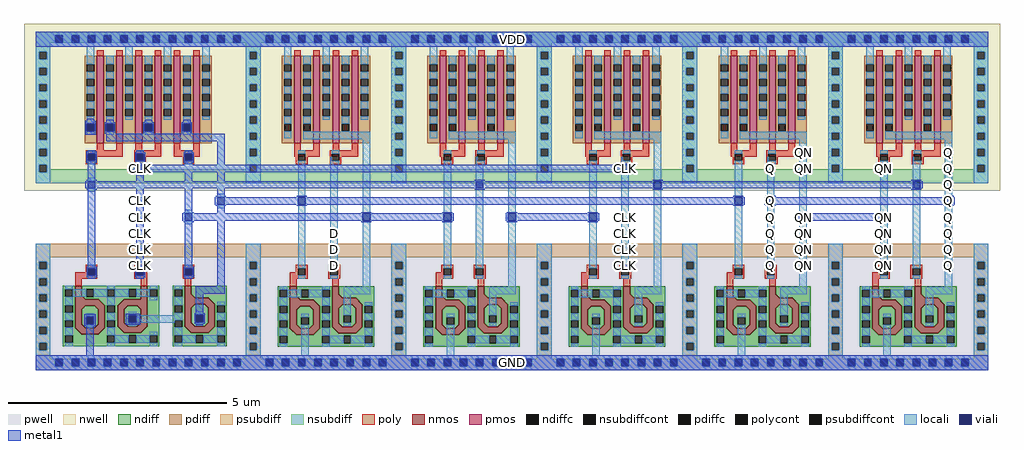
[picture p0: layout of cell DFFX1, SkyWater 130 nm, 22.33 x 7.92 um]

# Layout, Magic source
magic
tech sky130A
magscale 1 2
<< nwell >>
rect 57 1463 91 1497
<< pwell >>
rect 57 -17 91 17
<< locali >>
rect 3461 945 3495 979
rect 4127 945 4161 979
rect 427 871 461 905
rect 2647 871 2681 905
rect 3313 871 3347 905
rect 3461 871 3495 905
rect 3831 871 3865 905
rect 4127 871 4161 905
rect 4127 797 4161 831
rect 427 723 461 757
rect 3313 723 3347 757
rect 4127 723 4161 757
rect 427 649 461 683
rect 2647 649 2681 683
rect 3313 649 3347 683
rect 3461 649 3495 683
rect 3831 649 3865 683
rect 4127 649 4161 683
rect 427 575 461 609
rect 1315 575 1349 609
rect 2647 575 2681 609
rect 3313 575 3347 609
rect 3461 575 3495 609
rect 3831 575 3865 609
rect 4127 575 4161 609
rect 427 501 461 535
rect 1315 501 1349 535
rect 2647 501 2681 535
rect 3313 501 3347 535
rect 3461 501 3495 535
rect 3831 501 3865 535
rect 4127 501 4161 535
rect 427 427 461 461
rect 1315 427 1349 461
rect 2647 427 2681 461
rect 3313 427 3347 461
rect 3461 427 3495 461
rect 3831 427 3865 461
rect 4127 427 4161 461
<< metal1 >>
rect -34 1445 4326 1514
rect 3349 723 4115 757
rect 3497 649 3807 683
rect -34 -34 4326 34
use dffx1_pcell  dffx1_pcell_0 pcells
transform 1 0 0 0 1 0
box -87 -34 4379 1550
use li1_M1_contact  li1_M1_contact_15 pcells
transform 1 0 4144 0 1 740
box -53 -33 29 33
use li1_M1_contact  li1_M1_contact_8
transform -1 0 3330 0 -1 740
box -53 -33 29 33
use li1_M1_contact  li1_M1_contact_0
transform -1 0 3478 0 -1 666
box -53 -33 29 33
use li1_M1_contact  li1_M1_contact_1
transform 1 0 3848 0 1 666
box -53 -33 29 33
<< labels >>
rlabel locali 4127 723 4161 757 1 Q
port 1 nsew signal output
rlabel locali 4127 797 4161 831 1 Q
port 1 nsew signal output
rlabel locali 4127 871 4161 905 1 Q
port 1 nsew signal output
rlabel locali 4127 945 4161 979 1 Q
port 1 nsew signal output
rlabel locali 4127 649 4161 683 1 Q
port 1 nsew signal output
rlabel locali 4127 575 4161 609 1 Q
port 1 nsew signal output
rlabel locali 4127 501 4161 535 1 Q
port 1 nsew signal output
rlabel locali 4127 427 4161 461 1 Q
port 1 nsew signal output
rlabel locali 3313 871 3347 905 1 Q
port 1 nsew signal output
rlabel locali 3313 723 3347 757 1 Q
port 1 nsew signal output
rlabel locali 3313 649 3347 683 1 Q
port 1 nsew signal output
rlabel locali 3313 575 3347 609 1 Q
port 1 nsew signal output
rlabel locali 3313 501 3347 535 1 Q
port 1 nsew signal output
rlabel locali 3313 427 3347 461 1 Q
port 1 nsew signal output
rlabel locali 3831 649 3865 683 1 QN
port 2 nsew signal output
rlabel locali 3831 871 3865 905 1 QN
port 2 nsew signal output
rlabel locali 3831 575 3865 609 1 QN
port 2 nsew signal output
rlabel locali 3831 501 3865 535 1 QN
port 2 nsew signal output
rlabel locali 3831 427 3865 461 1 QN
port 2 nsew signal output
rlabel locali 3461 427 3495 461 1 QN
port 2 nsew signal output
rlabel locali 3461 501 3495 535 1 QN
port 2 nsew signal output
rlabel locali 3461 575 3495 609 1 QN
port 2 nsew signal output
rlabel locali 3461 649 3495 683 1 QN
port 2 nsew signal output
rlabel locali 3461 871 3495 905 1 QN
port 2 nsew signal output
rlabel locali 3461 945 3495 979 1 QN
port 2 nsew signal output
rlabel locali 1315 575 1349 609 1 D
port 3 nsew signal input
rlabel locali 1315 501 1349 535 1 D
port 3 nsew signal input
rlabel locali 1315 427 1349 461 1 D
port 3 nsew signal input
rlabel locali 427 871 461 905 1 CLK
port 4 nsew signal input
rlabel locali 427 723 461 757 1 CLK
port 4 nsew signal input
rlabel locali 427 649 461 683 1 CLK
port 4 nsew signal input
rlabel locali 427 575 461 609 1 CLK
port 4 nsew signal input
rlabel locali 427 501 461 535 1 CLK
port 4 nsew signal input
rlabel locali 427 427 461 461 1 CLK
port 4 nsew signal input
rlabel locali 2647 427 2681 461 1 CLK
port 4 nsew signal input
rlabel locali 2647 501 2681 535 1 CLK
port 4 nsew signal input
rlabel locali 2647 575 2681 609 1 CLK
port 4 nsew signal input
rlabel locali 2647 649 2681 683 1 CLK
port 4 nsew signal input
rlabel locali 2647 871 2681 905 1 CLK
port 4 nsew signal input
rlabel metal1 -34 1445 4326 1514 1 VDD
port 5 nsew power bidirectional abutment
rlabel metal1 -34 -34 4326 34 1 GND
port 6 nsew ground bidirectional abutment


<< properties >>
string LEFclass CORE
string LEFsite unitrh
string FIXED_BBOX 0 0 4292 1480
string LEFsymmetry X Y R90
<< end >>

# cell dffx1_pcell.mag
magic
tech sky130A
magscale 1 2
<< metal1 >>
rect 427 871 2651 905
rect 258 797 2793 831
rect 2841 797 3990 831
rect 833 723 1132 757
rect 1213 723 3163 757
rect 685 649 1427 683
rect 1509 649 1797 683
rect 2165 649 2478 683
use li1_M1_contact  li1_M1_contact_5
transform -1 0 814 0 -1 740
box -53 -33 29 33
use li1_M1_contact  li1_M1_contact_3
transform -1 0 666 0 -1 666
box -53 -33 29 33
use li1_M1_contact  li1_M1_contact_16
transform -1 0 444 0 -1 888
box -53 -33 29 33
use li1_M1_contact  li1_M1_contact_1
transform -1 0 222 0 -1 814
box -53 -33 29 33
use nand3x1_pcell  nand3x1_pcell_0
transform 1 0 0 0 1 0
box -87 -34 1049 1550
use nand2x1_pcell  nand2x1_pcell_0
transform 1 0 962 0 1 0
box -87 -34 753 1550
use li1_M1_contact  li1_M1_contact_10
transform -1 0 2146 0 -1 666
box -53 -33 29 33
use li1_M1_contact  li1_M1_contact_2
transform 1 0 1998 0 1 814
box -53 -33 29 33
use li1_M1_contact  li1_M1_contact_7
transform 1 0 1850 0 1 666
box -53 -33 29 33
use li1_M1_contact  li1_M1_contact_4
transform 1 0 1480 0 1 666
box -53 -33 29 33
use li1_M1_contact  li1_M1_contact_6
transform 1 0 1184 0 1 740
box -53 -33 29 33
use nand2x1_pcell  nand2x1_pcell_1
transform 1 0 1628 0 1 0
box -87 -34 753 1550
use li1_M1_contact  li1_M1_contact_8
transform 1 0 3182 0 1 740
box -53 -33 29 33
use li1_M1_contact  li1_M1_contact_0
transform 1 0 2812 0 1 814
box -53 -33 29 33
use li1_M1_contact  li1_M1_contact_18
transform 1 0 2664 0 1 888
box -53 -33 29 33
use li1_M1_contact  li1_M1_contact_9
transform 1 0 2516 0 1 666
box -53 -33 29 33
use nand2x1_pcell  nand2x1_pcell_2
transform 1 0 2294 0 1 0
box -87 -34 753 1550
use nand2x1_pcell  nand2x1_pcell_3
transform 1 0 2960 0 1 0
box -87 -34 753 1550
use li1_M1_contact  li1_M1_contact_15
transform 1 0 3996 0 1 814
box -53 -33 29 33
use nand2x1_pcell  nand2x1_pcell_4
transform 1 0 3626 0 1 0
box -87 -34 753 1550
<< end >>

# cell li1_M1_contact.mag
magic
tech sky130A
magscale 1 2
<< locali >>
rect -17 17 17 33
rect -17 -33 17 -17
<< viali >>
rect -17 -17 17 17
<< metal1 >>
rect -23 17 23 23
rect -53 -17 -17 17
rect 17 -17 29 17
rect -23 -23 23 -17
<< end >>

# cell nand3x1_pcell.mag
magic
tech sky130A
magscale 1 2
<< nwell >>
rect 87 1099 875 1550
rect 87 1093 220 1099
rect 87 1059 205 1093
rect 229 1059 263 1093
rect 87 1056 220 1059
rect 279 1056 875 1099
rect 87 786 875 1056
<< pwell >>
rect 34 -34 928 544
<< pdiffc >>
rect 201 1059 235 1093
rect 289 1059 323 1093
rect 465 1059 499 1093
rect 641 1059 675 1093
<< psubdiff >>
rect 34 482 928 544
rect 34 -17 57 17
rect 91 -17 131 17
rect 165 -17 205 17
rect 239 -17 279 17
rect 313 -17 353 17
rect 387 -17 427 17
rect 461 -17 501 17
rect 535 -17 575 17
rect 609 -17 649 17
rect 683 -17 723 17
rect 757 -17 797 17
rect 831 -17 871 17
rect 905 -17 928 17
rect 34 -34 928 -17
<< nsubdiff >>
rect 34 1497 928 1514
rect 34 1463 57 1497
rect 91 1463 131 1497
rect 165 1463 205 1497
rect 239 1463 279 1497
rect 313 1463 353 1497
rect 387 1463 427 1497
rect 461 1463 501 1497
rect 535 1463 575 1497
rect 609 1463 649 1497
rect 683 1463 723 1497
rect 757 1463 797 1497
rect 831 1463 871 1497
rect 905 1463 928 1497
rect 34 822 928 884
<< psubdiffcont >>
rect 57 -17 91 17
rect 131 -17 165 17
rect 205 -17 239 17
rect 279 -17 313 17
rect 353 -17 387 17
rect 427 -17 461 17
rect 501 -17 535 17
rect 575 -17 609 17
rect 649 -17 683 17
rect 723 -17 757 17
rect 797 -17 831 17
rect 871 -17 905 17
<< nsubdiffcont >>
rect 57 1463 91 1497
rect 131 1463 165 1497
rect 205 1463 239 1497
rect 279 1463 313 1497
rect 353 1463 387 1497
rect 427 1463 461 1497
rect 501 1463 535 1497
rect 575 1463 609 1497
rect 649 1463 683 1497
rect 723 1463 757 1497
rect 797 1463 831 1497
rect 871 1463 905 1497
<< poly >>
rect 147 383 195 413
rect 471 383 477 413
rect 147 377 177 383
rect 447 377 477 383
<< locali >>
rect 14 1497 943 1514
rect 14 1463 57 1497
rect 91 1463 131 1497
rect 165 1463 205 1497
rect 239 1463 279 1497
rect 313 1463 353 1497
rect 387 1463 427 1497
rect 461 1463 501 1497
rect 535 1463 575 1497
rect 609 1463 649 1497
rect 683 1463 723 1497
rect 757 1463 797 1497
rect 831 1463 871 1497
rect 905 1463 943 1497
rect 14 1446 943 1463
rect 201 1093 235 1120
rect 201 1043 235 1059
rect 289 1093 323 1112
rect 289 1043 323 1059
rect 465 1093 499 1117
rect 465 1043 499 1059
rect 641 1093 675 1112
rect 641 1043 675 1059
rect 427 182 603 216
rect 34 17 930 34
rect 34 -17 57 17
rect 91 -17 131 17
rect 165 -17 205 17
rect 239 -17 279 17
rect 313 -17 353 17
rect 387 -17 427 17
rect 461 -17 501 17
rect 535 -17 575 17
rect 609 -17 649 17
rect 683 -17 723 17
rect 757 -17 797 17
rect 831 -17 871 17
rect 905 -17 930 17
rect 34 -34 930 -17
<< viali >>
rect 57 1463 91 1497
rect 131 1463 165 1497
rect 205 1463 239 1497
rect 279 1463 313 1497
rect 353 1463 387 1497
rect 427 1463 461 1497
rect 501 1463 535 1497
rect 575 1463 609 1497
rect 649 1463 683 1497
rect 723 1463 757 1497
rect 797 1463 831 1497
rect 871 1463 905 1497
rect 201 1059 235 1093
rect 289 1059 323 1093
rect 465 1059 499 1093
rect 641 1059 675 1093
rect 205 923 239 957
rect 427 923 461 957
rect 649 923 683 957
rect 205 399 239 433
rect 427 399 461 433
rect 649 399 683 433
rect 198 176 232 210
rect 393 182 427 216
rect 700 185 734 219
rect 57 -17 91 17
rect 131 -17 165 17
rect 205 -17 239 17
rect 279 -17 313 17
rect 353 -17 387 17
rect 427 -17 461 17
rect 501 -17 535 17
rect 575 -17 609 17
rect 649 -17 683 17
rect 723 -17 757 17
rect 797 -17 831 17
rect 871 -17 905 17
<< metal1 >>
rect 34 1497 928 1514
rect 34 1463 57 1497
rect 91 1463 131 1497
rect 165 1463 205 1497
rect 239 1463 279 1497
rect 313 1463 353 1497
rect 387 1463 427 1497
rect 461 1463 501 1497
rect 535 1463 575 1497
rect 609 1463 649 1497
rect 683 1463 723 1497
rect 757 1463 797 1497
rect 831 1463 871 1497
rect 905 1463 928 1497
rect 34 1446 928 1463
rect 201 1107 235 1116
rect 193 1093 241 1107
rect 289 1099 323 1111
rect 465 1099 499 1111
rect 641 1099 675 1111
rect 193 1059 201 1093
rect 235 1059 241 1093
rect 193 1043 241 1059
rect 283 1093 330 1099
rect 283 1059 289 1093
rect 323 1059 330 1093
rect 283 1048 330 1059
rect 458 1093 506 1099
rect 458 1059 465 1093
rect 499 1059 506 1093
rect 458 1048 506 1059
rect 635 1093 681 1099
rect 635 1059 641 1093
rect 675 1059 681 1093
rect 635 1048 681 1059
rect 289 1014 831 1048
rect 205 967 239 969
rect 198 957 246 967
rect 427 963 461 969
rect 649 963 683 969
rect 198 923 205 957
rect 239 923 246 957
rect 198 915 246 923
rect 421 957 467 963
rect 421 923 427 957
rect 461 923 467 957
rect 421 917 467 923
rect 643 957 689 963
rect 643 923 649 957
rect 683 923 689 957
rect 205 439 239 915
rect 427 439 461 917
rect 643 914 689 923
rect 649 439 683 914
rect 199 433 245 439
rect 199 399 205 433
rect 239 399 245 433
rect 199 391 245 399
rect 421 433 468 439
rect 421 399 427 433
rect 461 399 468 433
rect 421 391 468 399
rect 643 433 689 439
rect 643 399 649 433
rect 683 399 689 433
rect 643 391 689 399
rect 205 383 239 391
rect 427 383 461 391
rect 649 383 683 391
rect 797 350 831 1014
rect 700 316 831 350
rect 700 225 734 316
rect 189 210 241 222
rect 189 176 198 210
rect 232 176 241 210
rect 189 167 241 176
rect 378 216 445 223
rect 378 182 393 216
rect 427 182 445 216
rect 378 173 445 182
rect 694 219 740 225
rect 694 185 700 219
rect 734 185 740 219
rect 694 179 740 185
rect 700 173 734 179
rect 198 34 232 167
rect 34 17 928 34
rect 34 -17 57 17
rect 91 -17 131 17
rect 165 -17 205 17
rect 239 -17 279 17
rect 313 -17 353 17
rect 387 -17 427 17
rect 461 -17 501 17
rect 535 -17 575 17
rect 609 -17 649 17
rect 683 -17 723 17
rect 757 -17 797 17
rect 831 -17 871 17
rect 905 -17 928 17
rect 34 -34 928 -17
use diff_ring_side  diff_ring_side_0
transform 1 0 962 0 1 0
box -87 -34 87 1550
use diff_ring_side  diff_ring_side_1
transform 1 0 0 0 1 0
box -87 -34 87 1550
use nmos_bottom  nmos_bottom_0
transform -1 0 339 0 1 75
box 0 0 248 302
use nmos_side_left  nmos_side_left_0
transform 1 0 285 0 1 75
box 0 0 248 302
use nmos_top_trim1  nmos_top_trim1_0
transform -1 0 841 0 1 75
box 0 0 248 309
use pmos2  pmos2_0
transform 1 0 103 0 1 1404
box 52 -461 352 42
use pmos2  pmos2_1
transform 1 0 279 0 1 1404
box 52 -461 352 42
use pmos2  pmos2_2
transform 1 0 455 0 1 1404
box 52 -461 352 42
use poly_li1_contact  poly_li1_contact_0
transform 0 1 223 -1 0 941
box -32 -28 34 26
use poly_li1_contact  poly_li1_contact_1
transform 0 -1 221 1 0 415
box -32 -28 34 26
use poly_li1_contact  poly_li1_contact_2
transform 0 -1 443 1 0 415
box -32 -28 34 26
use poly_li1_contact  poly_li1_contact_3
transform 0 -1 443 1 0 939
box -32 -28 34 26
use poly_li1_contact  poly_li1_contact_4
transform 0 -1 665 1 0 415
box -32 -28 34 26
use poly_li1_contact  poly_li1_contact_5
transform 0 1 667 -1 0 941
box -32 -28 34 26
<< end >>

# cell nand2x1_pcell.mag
magic
tech sky130A
magscale 1 2
<< nwell >>
rect 87 786 579 1550
<< pwell >>
rect 34 542 632 544
rect -31 -30 697 542
rect 34 -34 632 -30
<< pdiffc >>
rect 141 1059 175 1093
rect 229 1059 263 1093
rect 405 1059 439 1093
<< psubdiff >>
rect 34 542 632 544
rect 31 482 635 542
rect 31 480 34 482
rect 632 480 635 482
rect 31 -17 57 17
rect 91 -17 131 17
rect 165 -17 205 17
rect 239 -17 279 17
rect 313 -17 353 17
rect 387 -17 427 17
rect 461 -17 501 17
rect 535 -17 575 17
rect 609 -17 635 17
rect 31 -30 635 -17
rect 34 -34 632 -30
<< nsubdiff >>
rect 34 1497 632 1514
rect 34 1463 57 1497
rect 91 1463 131 1497
rect 165 1463 205 1497
rect 239 1463 279 1497
rect 313 1463 353 1497
rect 387 1463 427 1497
rect 461 1463 501 1497
rect 535 1463 575 1497
rect 609 1463 632 1497
rect 34 822 632 884
<< psubdiffcont >>
rect 57 -17 91 17
rect 131 -17 165 17
rect 205 -17 239 17
rect 279 -17 313 17
rect 353 -17 387 17
rect 427 -17 461 17
rect 501 -17 535 17
rect 575 -17 609 17
<< nsubdiffcont >>
rect 57 1463 91 1497
rect 131 1463 165 1497
rect 205 1463 239 1497
rect 279 1463 313 1497
rect 353 1463 387 1497
rect 427 1463 461 1497
rect 501 1463 535 1497
rect 575 1463 609 1497
<< poly >>
rect 168 375 198 413
rect 362 382 392 383
<< locali >>
rect 34 1497 632 1514
rect 34 1463 57 1497
rect 91 1463 131 1497
rect 165 1463 205 1497
rect 239 1463 279 1497
rect 313 1463 353 1497
rect 387 1463 427 1497
rect 461 1463 501 1497
rect 535 1463 575 1497
rect 609 1463 632 1497
rect 34 1446 632 1463
rect 141 1093 175 1111
rect 141 1027 175 1059
rect 229 1093 263 1111
rect 229 1057 263 1059
rect 405 1093 439 1111
rect 405 1057 439 1059
rect 229 1023 535 1057
rect 353 908 361 942
rect 205 433 239 908
rect 353 441 387 908
rect 353 433 357 441
rect 501 348 535 1023
rect 413 314 535 348
rect 413 233 447 314
rect 219 34 253 167
rect 34 32 632 34
rect 31 17 635 32
rect 31 -17 57 17
rect 91 -17 131 17
rect 165 -17 205 17
rect 239 -17 279 17
rect 313 -17 353 17
rect 387 -17 427 17
rect 461 -17 501 17
rect 535 -17 575 17
rect 609 -17 635 17
rect 31 -30 635 -17
rect 34 -34 632 -30
<< viali >>
rect 57 1463 91 1497
rect 131 1463 165 1497
rect 205 1463 239 1497
rect 279 1463 313 1497
rect 353 1463 387 1497
rect 427 1463 461 1497
rect 501 1463 535 1497
rect 575 1463 609 1497
rect 57 -17 91 17
rect 131 -17 165 17
rect 205 -17 239 17
rect 279 -17 313 17
rect 353 -17 387 17
rect 427 -17 461 17
rect 501 -17 535 17
rect 575 -17 609 17
<< metal1 >>
rect 34 1497 632 1514
rect 34 1463 57 1497
rect 91 1463 131 1497
rect 165 1463 205 1497
rect 239 1463 279 1497
rect 313 1463 353 1497
rect 387 1463 427 1497
rect 461 1463 501 1497
rect 535 1463 575 1497
rect 609 1463 632 1497
rect 34 1446 632 1463
rect 34 32 632 34
rect 31 17 635 32
rect 31 -17 57 17
rect 91 -17 131 17
rect 165 -17 205 17
rect 239 -17 279 17
rect 313 -17 353 17
rect 387 -17 427 17
rect 461 -17 501 17
rect 535 -17 575 17
rect 609 -17 635 17
rect 31 -30 635 -17
rect 34 -34 632 -30
use poly_li1_contact  poly_li1_contact_1
transform 0 1 223 -1 0 417
box -32 -28 34 26
use nmos_bottom  nmos_bottom_0
transform -1 0 360 0 1 73
box 0 0 248 302
use poly_li1_contact  poly_li1_contact_0
transform 0 1 223 -1 0 941
box -32 -28 34 26
use pmos2  pmos2_0
transform 1 0 43 0 1 1404
box 52 -461 352 42
use poly_li1_contact  poly_li1_contact_2
transform 0 -1 369 1 0 415
box -32 -28 34 26
use nmos_top_trim1  nmos_top_trim1_0
transform -1 0 554 0 1 73
box 0 0 248 309
use poly_li1_contact  poly_li1_contact_3
transform 0 1 377 -1 0 941
box -32 -28 34 26
use pmos2  pmos2_1
transform 1 0 219 0 1 1404
box 52 -461 352 42
use diff_ring_side  diff_ring_side_0
transform 1 0 666 0 1 0
box -87 -34 87 1550
use diff_ring_side  diff_ring_side_1
transform 1 0 0 0 1 0
box -87 -34 87 1550
<< end >>

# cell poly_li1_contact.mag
magic
tech sky130
<< poly >>
rect -16 8 17 13
rect -16 -9 -8 8
rect 9 -9 17 8
rect -16 -14 17 -9
<< polycont >>
rect -8 -9 9 8
<< locali >>
rect -16 -9 -8 8
rect 9 -9 17 8
<< end >>

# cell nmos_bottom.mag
magic
tech sky130A
magscale 1 2
<< nmos >>
tri 146 215 162 231 se
rect 162 215 192 276
tri 56 185 86 215 se
rect 86 185 192 215
rect 56 84 86 185
tri 86 169 102 185 nw
tri 146 169 162 185 ne
tri 86 84 102 100 sw
tri 146 84 162 100 se
rect 162 84 192 185
tri 56 54 86 84 ne
rect 86 54 162 84
tri 162 54 192 84 nw
<< ndiff >>
rect 0 260 162 276
rect 0 226 10 260
rect 44 226 107 260
rect 141 231 162 260
rect 141 226 146 231
rect 0 215 146 226
tri 146 215 162 231 nw
rect 192 260 248 276
rect 192 226 204 260
rect 238 226 248 260
rect 0 188 56 215
rect 0 154 10 188
rect 44 154 56 188
tri 56 185 86 215 nw
rect 192 188 248 226
rect 0 120 56 154
rect 0 86 10 120
rect 44 86 56 120
rect 0 54 56 86
tri 86 169 102 185 se
rect 102 169 146 185
tri 146 169 162 185 sw
rect 86 135 162 169
rect 86 101 107 135
rect 141 101 162 135
rect 86 100 162 101
tri 86 84 102 100 ne
rect 102 84 146 100
tri 146 84 162 100 nw
rect 192 154 204 188
rect 238 154 248 188
rect 192 120 248 154
rect 192 86 204 120
rect 238 86 248 120
tri 56 54 86 84 sw
tri 162 54 192 84 se
rect 192 54 248 86
rect 0 50 248 54
rect 0 16 10 50
rect 44 16 204 50
rect 238 16 248 50
rect 0 0 248 16
<< ndiffc >>
rect 10 226 44 260
rect 107 226 141 260
rect 204 226 238 260
rect 10 154 44 188
rect 10 86 44 120
rect 107 101 141 135
rect 204 154 238 188
rect 204 86 238 120
rect 10 16 44 50
rect 204 16 238 50
<< poly >>
rect 162 276 192 302
<< locali >>
rect 10 260 44 276
rect 204 260 238 276
rect 44 226 107 260
rect 141 226 204 260
rect 10 188 44 226
rect 10 120 44 154
rect 204 188 238 226
rect 10 50 44 86
rect 107 135 141 151
rect 107 85 141 101
rect 204 120 238 154
rect 10 0 44 16
rect 204 50 238 86
rect 204 0 238 16
<< end >>

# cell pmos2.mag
magic
tech sky130A
magscale 1 2
<< nwell >>
rect 52 -436 352 36
<< pmos >>
rect 144 -400 174 0
rect 232 -400 262 0
<< pdiff >>
rect 88 -38 144 0
rect 88 -72 98 -38
rect 132 -72 144 -38
rect 88 -106 144 -72
rect 88 -140 98 -106
rect 132 -140 144 -106
rect 88 -174 144 -140
rect 88 -208 98 -174
rect 132 -208 144 -174
rect 88 -242 144 -208
rect 88 -276 98 -242
rect 132 -276 144 -242
rect 88 -400 144 -276
rect 174 -38 232 0
rect 174 -72 186 -38
rect 220 -72 232 -38
rect 174 -106 232 -72
rect 174 -140 186 -106
rect 220 -140 232 -106
rect 174 -174 232 -140
rect 174 -208 186 -174
rect 220 -208 232 -174
rect 174 -242 232 -208
rect 174 -276 186 -242
rect 220 -276 232 -242
rect 174 -400 232 -276
rect 262 -38 316 0
rect 262 -72 274 -38
rect 308 -72 316 -38
rect 262 -106 316 -72
rect 262 -140 274 -106
rect 308 -140 316 -106
rect 262 -174 316 -140
rect 262 -208 274 -174
rect 308 -208 316 -174
rect 262 -242 316 -208
rect 262 -276 274 -242
rect 308 -276 316 -242
rect 262 -400 316 -276
<< pdiffc >>
rect 98 -72 132 -38
rect 98 -140 132 -106
rect 98 -208 132 -174
rect 98 -276 132 -242
rect 186 -72 220 -38
rect 186 -140 220 -106
rect 186 -208 220 -174
rect 186 -276 220 -242
rect 274 -72 308 -38
rect 274 -140 308 -106
rect 274 -208 308 -174
rect 274 -276 308 -242
<< poly >>
rect 144 0 174 26
rect 232 0 262 26
rect 144 -431 174 -400
rect 232 -431 262 -400
rect 144 -461 262 -431
<< locali >>
rect 98 -38 132 42
rect 98 -106 132 -72
rect 98 -174 132 -140
rect 98 -242 132 -208
rect 98 -293 132 -276
rect 186 -38 220 0
rect 186 -106 220 -72
rect 186 -174 220 -140
rect 186 -242 220 -208
rect 186 -293 220 -276
rect 274 -38 308 42
rect 274 -106 308 -72
rect 274 -174 308 -140
rect 274 -242 308 -208
rect 274 -293 308 -276
<< end >>

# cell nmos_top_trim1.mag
magic
tech sky130
magscale 1 2
<< nmos >>
tri 146 223 162 239 se
rect 162 223 192 276
tri 56 193 86 223 se
rect 86 193 192 223
rect 56 92 86 193
tri 86 177 102 193 nw
tri 146 177 162 193 ne
tri 86 92 102 108 sw
tri 146 92 162 108 se
rect 162 92 192 193
tri 56 62 86 92 ne
rect 86 62 162 92
tri 162 62 192 92 nw
<< ndiff >>
rect 0 239 162 276
rect 0 223 146 239
tri 146 223 162 239 nw
rect 192 260 248 276
rect 192 226 204 260
rect 238 226 248 260
rect 0 188 56 223
tri 56 193 86 223 nw
rect 0 154 10 188
rect 44 154 56 188
rect 0 120 56 154
rect 0 86 10 120
rect 44 86 56 120
tri 86 177 102 193 se
rect 102 177 146 193
tri 146 177 162 193 sw
rect 86 144 162 177
rect 86 110 107 144
rect 141 110 162 144
rect 86 108 162 110
tri 86 92 102 108 ne
rect 102 92 146 108
tri 146 92 162 108 nw
rect 192 188 248 226
rect 192 154 204 188
rect 238 154 248 188
rect 192 120 248 154
rect 0 62 56 86
tri 56 62 86 92 sw
tri 162 62 192 92 se
rect 192 86 204 120
rect 238 86 248 120
rect 192 62 248 86
rect 0 50 248 62
rect 0 16 10 50
rect 44 16 107 50
rect 141 16 204 50
rect 238 16 248 50
rect 0 0 248 16
<< ndiffc >>
rect 204 226 238 260
rect 10 154 44 188
rect 10 86 44 120
rect 107 110 141 144
rect 204 154 238 188
rect 204 86 238 120
rect 10 16 44 50
rect 107 16 141 50
rect 204 16 238 50
<< poly >>
rect 162 276 192 309
<< locali >>
rect 204 260 238 276
rect 10 188 44 204
rect 204 188 238 226
rect 10 120 44 154
rect 107 144 141 161
rect 107 94 141 110
rect 204 120 238 154
rect 10 50 44 86
rect 204 50 238 86
rect 44 16 107 50
rect 141 16 204 50
rect 10 0 44 16
rect 204 0 238 16
<< end >>

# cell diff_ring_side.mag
magic
tech sky130A
magscale 1 2
<< nwell >>
rect -87 786 87 1550
<< pwell >>
rect -34 -34 34 544
<< psubdiff >>
rect -34 461 34 544
rect -34 427 -17 461
rect 17 427 34 461
rect -34 387 34 427
rect -34 353 -17 387
rect 17 353 34 387
rect -34 313 34 353
rect -34 279 -17 313
rect 17 279 34 313
rect -34 239 34 279
rect -34 205 -17 239
rect 17 205 34 239
rect -34 165 34 205
rect -34 131 -17 165
rect 17 131 34 165
rect -34 91 34 131
rect -34 57 -17 91
rect 17 57 34 91
rect -34 -34 34 57
<< nsubdiff >>
rect -34 1423 34 1514
rect -34 1389 -17 1423
rect 17 1389 34 1423
rect -34 1349 34 1389
rect -34 1315 -17 1349
rect 17 1315 34 1349
rect -34 1275 34 1315
rect -34 1241 -17 1275
rect 17 1241 34 1275
rect -34 1201 34 1241
rect -34 1167 -17 1201
rect 17 1167 34 1201
rect -34 1127 34 1167
rect -34 1093 -17 1127
rect 17 1093 34 1127
rect -34 1053 34 1093
rect -34 1019 -17 1053
rect 17 1019 34 1053
rect -34 979 34 1019
rect -34 945 -17 979
rect 17 945 34 979
rect -34 905 34 945
rect -34 871 -17 905
rect 17 871 34 905
rect -34 822 34 871
<< psubdiffcont >>
rect -17 427 17 461
rect -17 353 17 387
rect -17 279 17 313
rect -17 205 17 239
rect -17 131 17 165
rect -17 57 17 91
<< nsubdiffcont >>
rect -17 1389 17 1423
rect -17 1315 17 1349
rect -17 1241 17 1275
rect -17 1167 17 1201
rect -17 1093 17 1127
rect -17 1019 17 1053
rect -17 945 17 979
rect -17 871 17 905
<< locali >>
rect -34 1423 34 1514
rect -34 1389 -17 1423
rect 17 1389 34 1423
rect -34 1349 34 1389
rect -34 1315 -17 1349
rect 17 1315 34 1349
rect -34 1275 34 1315
rect -34 1241 -17 1275
rect 17 1241 34 1275
rect -34 1201 34 1241
rect -34 1167 -17 1201
rect 17 1167 34 1201
rect -34 1127 34 1167
rect -34 1093 -17 1127
rect 17 1093 34 1127
rect -34 1053 34 1093
rect -34 1019 -17 1053
rect 17 1019 34 1053
rect -34 979 34 1019
rect -34 945 -17 979
rect 17 945 34 979
rect -34 905 34 945
rect -34 871 -17 905
rect 17 871 34 905
rect -34 822 34 871
rect -34 461 34 544
rect -34 427 -17 461
rect 17 427 34 461
rect -34 387 34 427
rect -34 353 -17 387
rect 17 353 34 387
rect -34 313 34 353
rect -34 279 -17 313
rect 17 279 34 313
rect -34 239 34 279
rect -34 205 -17 239
rect 17 205 34 239
rect -34 165 34 205
rect -34 131 -17 165
rect 17 131 34 165
rect -34 91 34 131
rect -34 57 -17 91
rect 17 57 34 91
rect -34 -34 34 57
<< metal1 >>
rect -34 1446 34 1514
rect -34 -34 34 34
<< end >>

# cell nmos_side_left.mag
magic
tech sky130
magscale 1 2
<< nmos >>
rect 162 215 192 276
tri 57 185 87 215 se
rect 87 185 192 215
rect 57 91 87 185
tri 87 169 103 185 nw
tri 146 169 162 185 ne
tri 87 91 103 107 sw
tri 146 91 162 107 se
rect 162 91 192 185
tri 57 61 87 91 ne
rect 87 61 162 91
tri 162 61 192 91 nw
<< ndiff >>
rect 0 260 162 276
rect 0 226 10 260
rect 44 226 107 260
rect 141 226 162 260
rect 0 215 162 226
rect 192 260 248 276
rect 192 226 204 260
rect 238 226 248 260
rect 0 188 57 215
rect 0 154 10 188
rect 44 154 57 188
tri 57 185 87 215 nw
rect 0 120 57 154
rect 0 86 10 120
rect 44 86 57 120
tri 87 169 103 185 se
rect 103 169 146 185
tri 146 169 162 185 sw
rect 87 141 162 169
rect 87 107 108 141
rect 142 107 162 141
tri 87 91 103 107 ne
rect 103 91 146 107
tri 146 91 162 107 nw
rect 0 61 57 86
tri 57 61 87 91 sw
tri 162 61 192 91 se
rect 192 61 248 226
rect 0 50 248 61
rect 0 16 10 50
rect 44 16 107 50
rect 141 16 204 50
rect 238 16 248 50
rect 0 0 248 16
<< ndiffc >>
rect 10 226 44 260
rect 107 226 141 260
rect 204 226 238 260
rect 10 154 44 188
rect 10 86 44 120
rect 108 107 142 141
rect 10 16 44 50
rect 107 16 141 50
rect 204 16 238 50
<< poly >>
rect 162 276 192 302
<< locali >>
rect 10 260 44 276
rect 204 260 238 276
rect 44 226 107 260
rect 141 226 204 260
rect 10 188 44 226
rect 204 210 238 226
rect 10 120 44 154
rect 108 141 142 157
rect 108 91 142 107
rect 10 50 44 86
rect 204 50 238 66
rect 44 16 107 50
rect 141 16 204 50
rect 10 0 44 16
rect 204 0 238 16
<< end >>
